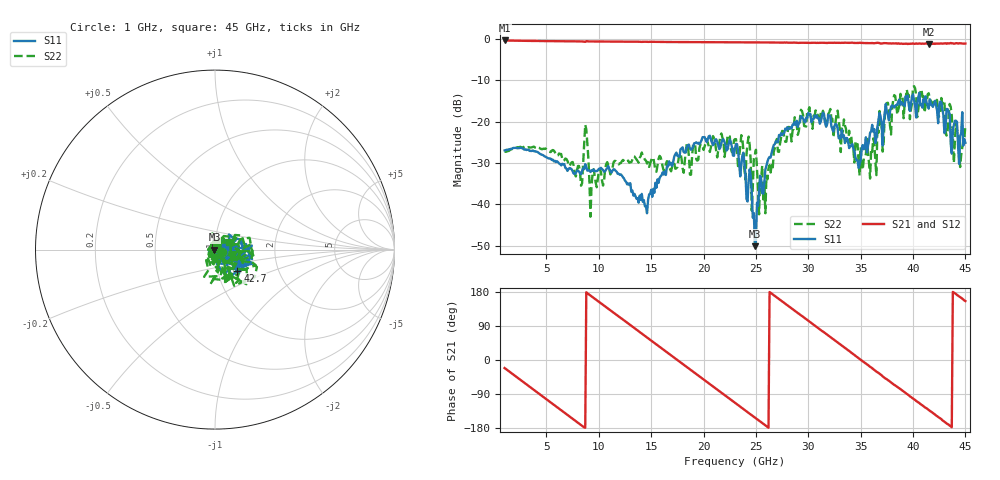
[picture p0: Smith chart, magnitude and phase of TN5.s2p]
!Keysight Technologies,N5247B,MY61255062,A.19.80.06
!Date: Monday, May 18, 2026 13:05:47
!Correction: S11(Cdelta 2-Port  )
!S21(Cdelta 2-Port  )
!S12(Cdelta 2-Port  )
!S22(Cdelta 2-Port  )
!S2P File: Measurements: S11, S21, S12, S22:
# Hz S  dB  R 50
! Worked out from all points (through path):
!   441 points, 1 GHz to 45 GHz, reference 50 ohm
!   highest |S21| = -0.41 dB at 1 GHz (marker M1); lowest = -1.3 dB at 41.5 GHz (marker M2)
!   group delay of S21, straight-line fit = 57 ps
!   lowest |S11| = -50.1 dB at 24.9 GHz (marker M3), VSWR 1.01, Z = 49.7 - j0.0374 ohm
!   |S11| at or under -10 dB: start of sweep to end of sweep
!   |S22| runs from -43.0 to -11.4 dB; largest |S21 - S12| = 0.019
!   S11 on the Smith chart (normalised r, x): 1 GHz: 1.09, -0.03; 42.7 GHz: 1.25, -0.30; 45 GHz: 1.11, +0.03
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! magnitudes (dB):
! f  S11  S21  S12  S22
! 1 GHz  -27.0  -0.4  -0.4  -27.3
! 8.4 GHz  -31.9  -0.6  -0.6  -34.9
! 8.8 GHz  -31.0  -0.6  -0.6  -21.9
! 9.3 GHz  -31.8  -0.7  -0.7  -35.5
! 14.4 GHz  -40.5  -0.7  -0.7  -29.2
! 15.7 GHz  -34.8  -0.8  -0.8  -29.0
! 20 GHz  -23.8  -0.8  -0.8  -26.9
! 23 GHz  -26.4  -0.8  -0.8  -24.2
! 24.5 GHz  -32.9  -0.8  -0.8  -29.4
! 24.9 GHz  -50.1  -0.8  -0.8  -28.0
! 25.9 GHz  -31.6  -0.9  -0.9  -42.2
! 26.8 GHz  -25.5  -0.9  -0.9  -26.4
! 30.4 GHz  -19.4  -1.0  -1.0  -21.7
! 32.8 GHz  -21.6  -1.0  -1.0  -17.4
! 34.8 GHz  -31.2  -1.0  -1.0  -29.6
! 36.3 GHz  -21.8  -1.1  -1.1  -25.2
! 36.8 GHz  -17.9  -1.0  -1.1  -17.4
! 37.7 GHz  -19.7  -1.1  -1.2  -17.2
! 41.5 GHz  -16.9  -1.3  -1.2  -13.2
! 42.7 GHz  -15.3  -1.1  -1.1  -14.3
! 44.6 GHz  -22.8  -1.1  -1.1  -28.0
! 45 GHz  -25.1  -1.2  -1.2  -20.9
